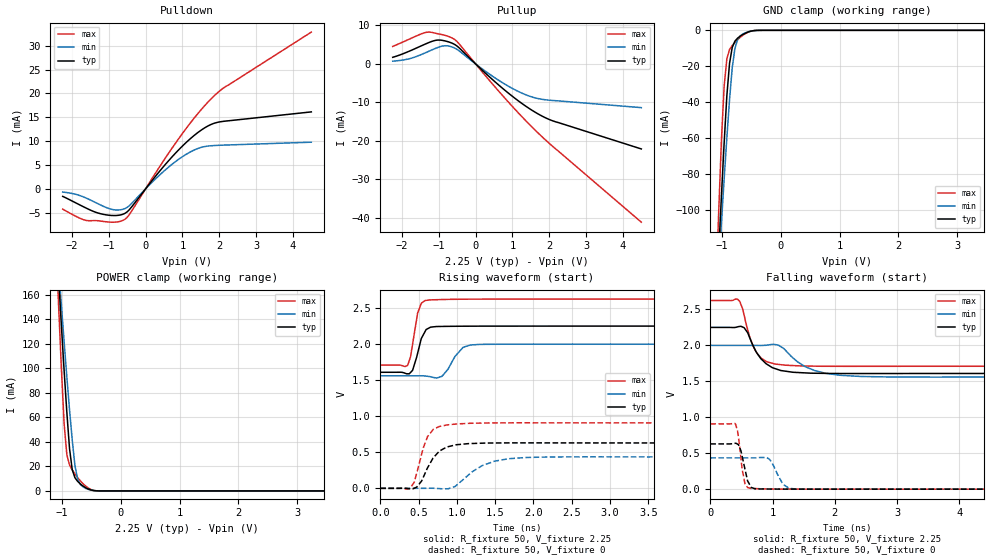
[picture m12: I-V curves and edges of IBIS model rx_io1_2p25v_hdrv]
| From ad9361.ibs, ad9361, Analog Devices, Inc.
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|   Model: io1_2p25v_hdrv
[Model]   rx_io1_2p25v_hdrv
Model_type  I/O
Vinl=0.45
Vinh=1.8
Vref=0
Vmeas=1.125
Rref=1G
Cref=3pF
|variable   typ   min   max
C_comp_pullup   6.003470E-13 5.336184E-13 6.163979E-13
C_comp_pulldown   2.095363E-13 1.951223E-13 2.400153E-13
[C Comp Corner]
C_comp_pullup   5.336184E-13 6.163979E-13 6.003470E-13
C_comp_pulldown   1.951223E-13 2.400153E-13 2.095363E-13
[Temperature Range]   25   85   -40
[Voltage Range]   2.25   2   2.625
[Power Clamp Reference]  2.25   2   2.625
[GND Clamp Reference]   0   0   0
[Pullup Reference]   2.25   2   2.625
[Pulldown Reference]   0   0   0
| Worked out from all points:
|   slope of the pulldown table from 0 to 0.337 V, typ, clamps not added: 103 ohm
|   slope of the pullup table from 0 to 0.337 V, typ, clamps not added: 111 ohm
|   GND clamp passes 1 mA (typ) near -0.56 V on its own axis
|   POWER clamp passes 1 mA (typ) near -0.52 V on its own axis
|   rising waveform, R_fixture 50, V_fixture 2.25: 20-80 % time 107ps typ, 163ps min, 85.9ps max; typ from 1.61 V to 2.25 V
|   falling waveform, R_fixture 50, V_fixture 2.25: 20-80 % time 284ps typ, 456ps min, 211ps max; typ from 2.25 V to 1.61 V
|   rising waveform, R_fixture 50, V_fixture 0: 20-80 % time 210ps typ, 373ps min, 156ps max; typ from 0 V to 0.629 V
|   falling waveform, R_fixture 50, V_fixture 0: 20-80 % time 96.4ps typ, 153ps min, 82.1ps max; typ from 0.629 V to 0 V
[Power clamp]
| Voltage   I(typ)   I(min)   I(max)
-2.25V    1.271A     1.049A     1.657A
-1.102V   210.4mA    211.8mA    200.9mA
-1.056V   171.8mA    181mA      148.6mA
-1.01V    134.1mA    150.9mA    98.92mA
-964.3mV  97.88mA    121.4mA    54.59mA
-918.4mV  64.07mA    92.95mA    29.61mA
-872.4mV  34.4mA     66mA       21.07mA
-826.5mV  17.26mA    41.41mA    17.11mA
-780.6mV  10.77mA    20.58mA    13.85mA
-734.7mV  7.761mA    9.575mA    10.88mA
-596.9mV  2.59mA     2.056mA    3.923mA
4.5V      -737.4pA   -8.516nA   -142.8pA
[GND Clamp]
| Voltage   I(typ)   I(min)   I(max)
-2.25V    -1.014A    -826.4mA   -1.341A
-1.102V   -154.8mA   -156.9mA   -143.6mA
-1.056V   -123mA     -131.7mA   -100.7mA
-1.01V    -92.17mA   -107mA     -60.93mA
-964.3mV  -62.86mA   -82.98mA   -31.22mA
-918.4mV  -36.52mA   -60mA      -15.86mA
-872.4mV  -18.39mA   -38.62mA   -10.69mA
-826.5mV  -9.489mA   -20.77mA   -8.487mA
-780.6mV  -5.999mA   -10.01mA   -6.763mA
-642.9mV  -2.25mA    -1.993mA   -2.676mA
-367.3mV  -13.87uA   -18.83uA   -7.521uA
4.5V      1.312nA    2.103nA    66.85pA
[Pullup]
| Voltage   I(typ)   I(min)   I(max)
-2.25V    1.71mA     704uA      4.54mA
-1.791V   3.338mA    1.361mA    6.471mA
-1.286V   5.477mA    3.21mA     8.266mA
-1.056V   6.163mA    4.149mA    7.897mA
-872.4mV  6.058mA    4.675mA    7.523mA
-734.7mV  5.722mA    4.648mA    7.129mA
-551mV    4.952mA    4.024mA    6.218mA
642.9mV   -5.62mA    -4.364mA   -7.259mA
1.102V    -9.188mA   -6.898mA   -12.14mA
1.515V    -11.96mA   -8.554mA   -16.26mA
2.112V    -14.87mA   -9.53mA    -21.6mA
4.5V      -22.12mA   -11.38mA   -41.16mA
[Pulldown]
| Voltage   I(typ)   I(min)   I(max)
-2.25V    -1.575mA   -674uA     -4.242mA
-1.607V   -4.051mA   -1.948mA   -6.618mA
-1.286V   -5.075mA   -3.139mA   -6.684mA
-918.4mV  -5.573mA   -4.297mA   -6.982mA
-551mV    -5.086mA   -4.099mA   -6.315mA
-413.3mV  -4.115mA   -3.323mA   -5.067mA
321.4mV   3.135mA    2.464mA    3.921mA
826.5mV   7.596mA    5.793mA    9.726mA
1.286V    10.98mA    8.012mA    14.5mA
1.699V    13.2mA     8.971mA    18.22mA
2.158V    14.19mA    9.177mA    21.35mA
4.5V      16.13mA    9.778mA    32.85mA
[Rising Waveform]
R_fixture = 50
V_fixture = 2.25
V_fixture_min = 2
V_fixture_max = 2.625
| time   V(typ)   V(min)   V(max)
0s        1.61V      1.56V      1.71V
358ps     1.588V     1.56V      1.706V
421.7ps   1.637V     1.561V     2V
487.7ps   1.874V     1.561V     2.431V
535.2ps   2.077V     1.561V     2.565V
583.3ps   2.172V     1.558V     2.604V
805.8ps   2.245V     1.554V     2.618V
1.08ns    2.249V     1.955V     2.623V
1.174ns   2.249V     1.988V     2.624V
5.858ns   2.25V      2V         2.625V
[Falling Waveform]
R_fixture = 50
V_fixture = 2.25
V_fixture_min = 2
V_fixture_max = 2.625
| time   V(typ)   V(min)   V(max)
0s        2.25V      2V         2.625V
438.3ps   2.257V     2V         2.643V
543.7ps   2.246V     2V         2.42V
626.1ps   2.122V     2V         2.135V
747.3ps   1.897V     2V         1.894V
892.2ps   1.747V     2.001V     1.781V
1.21ns    1.641V     1.929V     1.724V
1.674ns   1.613V     1.651V     1.711V
2.427ns   1.608V     1.567V     1.709V
12.05ns   1.61V      1.56V      1.71V
[Rising Waveform]
R_fixture = 50
V_fixture = 0
V_fixture_min = 0
V_fixture_max = 0
| time   V(typ)   V(min)   V(max)
0s        13.81nV    40.2nV     4.826nV
398.1ps   -7.008mV   1.002uV    13.15mV
444.3ps   1.955mV    -3.024uV   86.28mV
476.4ps   17.27mV    -5.823uV   215.2mV
616.6ps   283.4mV    790.7uV    716.2mV
771.3ps   516.3mV    -3.846mV   858.1mV
991.9ps   604.4mV    39.8mV     892.4mV
1.329ns   626.3mV    314.5mV    905.2mV
1.912ns   630.4mV    428.1mV    908.5mV
8.682ns   629.3mV    435mV      907.8mV
[Falling Waveform]
R_fixture = 50
V_fixture = 0
V_fixture_min = 0
V_fixture_max = 0
| time   V(typ)   V(min)   V(max)
0s        629.3mV    435mV      907.8mV
406.4ps   638.6mV    435mV      904.5mV
436.8ps   626.8mV    435mV      817.9mV
491.9ps   535.8mV    435mV      434.5mV
557.2ps   278.2mV    435mV      76.18mV
654.6ps   28.91mV    434.8mV    9.626mV
946.7ps   1.984mV    419mV      2.924mV
1.167ns   830.3uV    68.38mV    1.025mV
1.369ns   437.7uV    2.687mV    585uV
8.887ns   -5.948uV   -1.646uV   -5.683uV
[Ramp]
| variable   typ   min   max
dV/dt_r  0.377591/2.10E-10   0.261009/3.73E-10   0.544697/1.56E-10
dV/dt_f  0.384207/2.84E-10   0.263717/4.56E-10   0.549279/2.11E-10
R_load = 50
|   End of [Model]: io1_2p25v_hdrv
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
